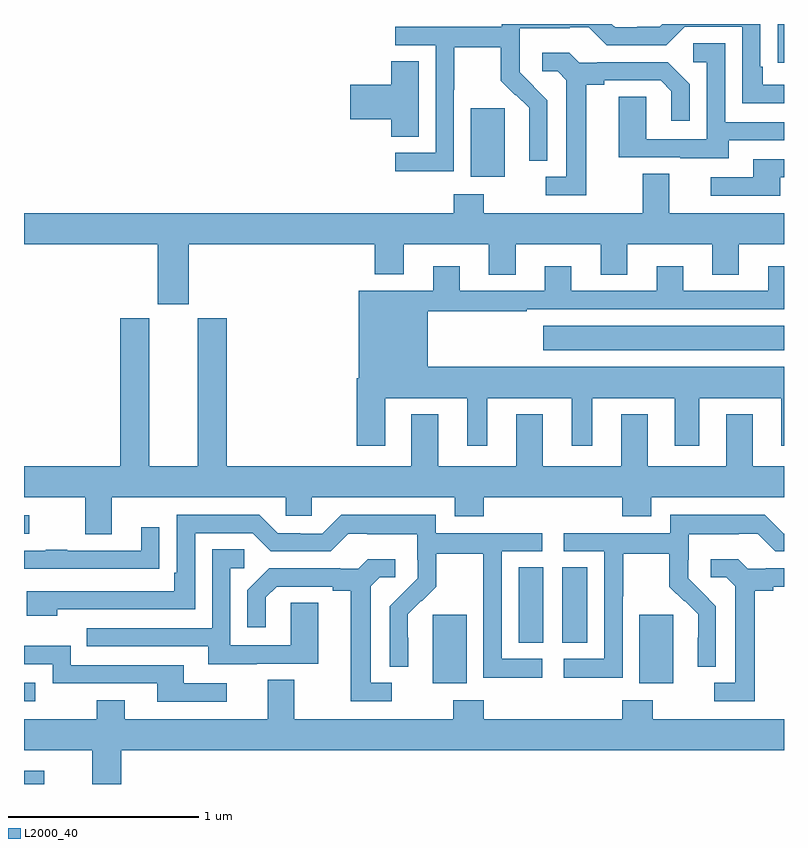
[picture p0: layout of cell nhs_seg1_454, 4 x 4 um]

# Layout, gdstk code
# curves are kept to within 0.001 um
import gdstk
lib = gdstk.Library(unit=1e-6, precision=1e-09)
def R(c, l, rs):  # rectangles x0, y0, x1, y1
    for r in rs: c.add(gdstk.rectangle(r[:2], r[2:], *l))
def P(c, l, *ps):  # polygons
    for p in ps: c.add(gdstk.Polygon(p, *l))
L2000_40 = (2000, 40)

nhs_seg1_454 = lib.new_cell('nhs_seg1_454')
R(nhs_seg1_454, L2000_40, [(135,574.199,135.106,574.27), (135,574.635,135.058,574.731), (137.15,574.73,137.329,575.091), (138.239,574.73,138.418,575.091), (137.603,574.942,137.734,575.339), (137.834,574.942,137.965,575.339), (135,575.517,135.028,575.613), (137.733,576.482,139,576.61), (137.351,577.394,137.53,577.755), (138.967,577.996,139,578.199)])
P(nhs_seg1_454, L2000_40, [(137.262,577.852),(137.265,577.852),(137.265,578.076),(137.509,578.076),(137.509,577.901),(137.586,577.824),(137.589,577.827),(137.66,577.757),(137.66,577.634),(137.658,577.634),(137.658,577.48),(137.754,577.48),(137.754,577.798),(137.608,577.946),(137.608,578.043),(137.61,578.043),(137.61,578.177),(137.873,578.177),(137.873,578.181),(137.973,578.181),(138.066,578.088),(138.381,578.088),(138.477,578.184),(138.78,578.184),(138.78,577.782),(139,577.782),(139,577.878),(138.889,577.878),(138.889,577.975),(138.876,577.975),(138.876,578.199),(138.36,578.199),(138.345,578.184),(138.227,578.184),(138.227,578.181),(138.111,578.181),(138.093,578.199),(137.514,578.199),(137.514,578.184),(136.953,578.184),(136.953,578.088),(137.166,578.088),(137.166,577.521),(136.953,577.521),(136.953,577.423),(137.262,577.423)],
  [(138.709,577.587),(139,577.587),(139,577.683),(138.69,577.683),(138.69,578.099),(138.522,578.099),(138.522,577.998),(138.594,577.998),(138.594,577.593),(138.276,577.593),(138.276,577.817),(138.131,577.817),(138.131,577.497),(138.455,577.497),(138.455,577.493),(138.709,577.493)],
  [(137.959,577.88),(138.055,577.88),(138.055,577.902),(138.35,577.902),(138.407,577.845),(138.407,577.689),(138.504,577.689),(138.504,577.882),(138.388,577.998),(138.016,577.998),(138.016,577.995),(137.922,577.995),(137.87,578.047),(137.727,578.047),(137.727,577.95),(137.808,577.95),(137.855,577.903),(137.855,577.395),(137.745,577.395),(137.745,577.299),(137.959,577.299)],
  [(137.077,578.003),(136.934,578.003),(136.934,577.88),(136.716,577.88),(136.716,577.697),(136.934,577.697),(136.934,577.606),(137.077,577.606)],
  [(138.979,577.392),(139,577.392),(139,577.488),(138.839,577.488),(138.839,577.392),(138.615,577.392),(138.615,577.296),(138.979,577.296)],
  [(135.868,577.04),(136.847,577.04),(136.847,576.881),(136.999,576.881),(136.999,577.04),(137.447,577.04),(137.447,576.88),(137.587,576.88),(137.587,577.04),(138.035,577.04),(138.035,576.88),(138.175,576.88),(138.175,577.04),(138.623,577.04),(138.623,576.88),(138.763,576.88),(138.763,577.04),(139,577.04),(139,577.204),(138.397,577.204),(138.397,577.412),(138.257,577.412),(138.257,577.204),(137.421,577.204),(137.421,577.303),(137.261,577.303),(137.261,577.204),(135,577.204),(135,577.04),(135.704,577.04),(135.704,576.723),(135.868,576.723)],
  [(136.9,576.23),(137.333,576.23),(137.333,575.979),(137.437,575.979),(137.437,576.23),(137.882,576.23),(137.882,575.979),(137.992,575.979),(137.992,576.23),(138.425,576.23),(138.425,575.979),(138.553,575.979),(138.553,576.23),(138.986,576.23),(138.986,575.979),(139,575.979),(139,576.394),(137.125,576.394),(137.125,576.687),(137.645,576.687),(137.645,576.699),(139,576.699),(139,576.925),(138.917,576.925),(138.917,576.795),(138.469,576.795),(138.469,576.925),(138.329,576.925),(138.329,576.795),(137.881,576.795),(137.881,576.925),(137.741,576.925),(137.741,576.795),(137.293,576.795),(137.293,576.925),(137.153,576.925),(137.153,576.796),(136.763,576.796),(136.763,576.334),(136.751,576.334),(136.751,575.979),(136.9,575.979)],
  [(135.463,575.708),(136.377,575.708),(136.377,575.61),(136.515,575.61),(136.515,575.708),(137.267,575.708),(137.267,575.609),(137.42,575.609),(137.42,575.708),(138.149,575.708),(138.149,575.609),(138.301,575.609),(138.301,575.708),(139,575.708),(139,575.872),(138.835,575.872),(138.835,576.145),(138.695,576.145),(138.695,575.872),(138.283,575.872),(138.283,576.145),(138.143,576.145),(138.143,575.872),(137.731,575.872),(137.731,576.145),(137.591,576.145),(137.591,575.872),(137.179,575.872),(137.179,576.145),(137.039,576.145),(137.039,575.872),(136.067,575.872),(136.067,576.651),(135.914,576.651),(135.914,575.872),(135.658,575.872),(135.658,576.651),(135.506,576.651),(135.506,575.872),(135,575.872),(135,575.708),(135.323,575.708),(135.323,575.514),(135.463,575.514)],
  [(137.728,574.857),(137.514,574.857),(137.514,575.424),(137.728,575.424),(137.728,575.52),(137.166,575.52),(137.166,575.617),(136.669,575.617),(136.569,575.517),(136.454,575.517),(136.454,575.52),(136.335,575.52),(136.239,575.616),(135.804,575.616),(135.804,575.311),(135.791,575.311),(135.791,575.214),(135.015,575.214),(135.015,575.084),(135.176,575.084),(135.176,575.118),(135.9,575.118),(135.9,575.52),(136.203,575.52),(136.299,575.424),(136.614,575.424),(136.707,575.517),(136.807,575.517),(136.807,575.513),(137.07,575.513),(137.07,575.379),(137.072,575.379),(137.072,575.282),(136.926,575.134),(136.926,574.816),(137.022,574.816),(137.021,575.093),(137.091,575.163),(137.094,575.16),(137.171,575.237),(137.171,575.412),(137.416,575.412),(137.416,575.188),(137.418,575.188),(137.418,574.759),(137.728,574.759)],
  [(138.15,575.188),(138.153,575.188),(138.153,575.412),(138.397,575.412),(138.397,575.237),(138.474,575.16),(138.477,575.163),(138.548,575.093),(138.548,574.97),(138.546,574.97),(138.546,574.816),(138.642,574.816),(138.642,575.134),(138.496,575.282),(138.496,575.379),(138.498,575.379),(138.498,575.513),(138.761,575.513),(138.761,575.517),(138.861,575.517),(138.954,575.424),(139,575.424),(139,575.517),(138.899,575.617),(138.402,575.617),(138.402,575.52),(137.841,575.52),(137.841,575.424),(138.054,575.424),(138.054,574.857),(137.841,574.857),(137.841,574.759),(138.15,574.759)],
  [(135.611,575.332),(135.713,575.332),(135.713,575.551),(135.617,575.551),(135.617,575.427),(135.227,575.427),(135.227,575.432),(135.115,575.432),(135.115,575.427),(135,575.427),(135,575.331),(135.611,575.331)],
  [(136.225,574.833),(136.549,574.833),(136.549,575.153),(136.404,575.153),(136.404,574.929),(136.086,574.929),(136.086,575.334),(136.159,575.334),(136.159,575.435),(135.99,575.435),(135.99,575.019),(135.331,575.019),(135.331,574.923),(135.971,574.923),(135.971,574.829),(136.225,574.829)],
  [(138.847,575.216),(138.943,575.216),(138.943,575.238),(139,575.238),(139,575.334),(138.904,575.334),(138.904,575.331),(138.81,575.331),(138.758,575.383),(138.615,575.383),(138.615,575.286),(138.696,575.286),(138.743,575.239),(138.743,574.731),(138.633,574.731),(138.633,574.635),(138.847,574.635)],
  [(136.936,574.731),(136.825,574.731),(136.825,575.239),(136.872,575.286),(136.954,575.286),(136.954,575.383),(136.81,575.383),(136.758,575.331),(136.664,575.331),(136.664,575.334),(136.292,575.334),(136.176,575.218),(136.176,575.025),(136.273,575.025),(136.273,575.181),(136.33,575.238),(136.625,575.238),(136.625,575.216),(136.721,575.216),(136.721,574.635),(136.936,574.635)],
  [(136.066,574.728),(135.841,574.728),(135.841,574.824),(135.246,574.824),(135.246,574.927),(135,574.927),(135,574.83),(135.15,574.83),(135.15,574.728),(135.701,574.728),(135.701,574.632),(136.066,574.632)],
  [(135.512,574.376),(139,574.376),(139,574.54),(138.309,574.54),(138.309,574.639),(138.149,574.639),(138.149,574.54),(137.42,574.54),(137.42,574.639),(137.26,574.639),(137.26,574.54),(136.423,574.54),(136.423,574.748),(136.283,574.748),(136.283,574.54),(135.529,574.54),(135.529,574.639),(135.382,574.639),(135.382,574.54),(135,574.54),(135,574.376),(135.359,574.376),(135.359,574.199),(135.512,574.199)])

lib.write_gds('nhs_seg1_454.gds')
